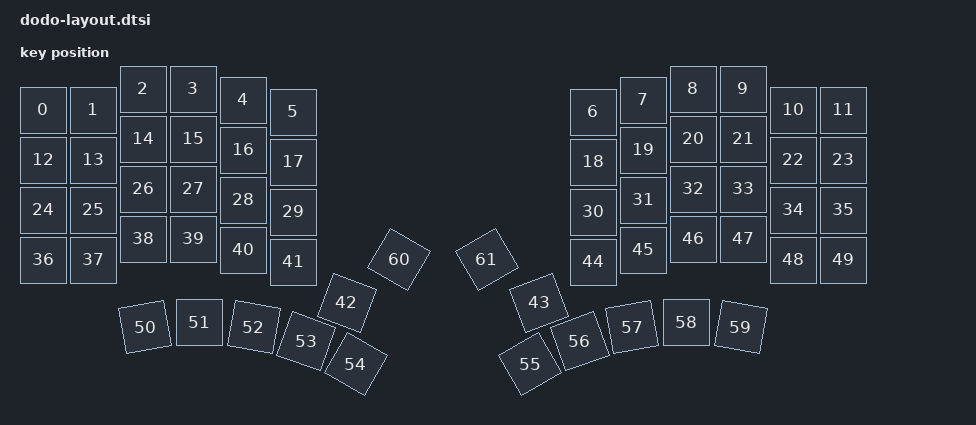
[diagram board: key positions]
#include <physical_layouts.dtsi>

/ {
    physical_layout0: physical_layout_0 {
        compatible = "zmk,physical-layout";
        display-name = "default_layout";

        keys  //                     w   h    x    y     rot    rx    ry
            = <&key_physical_attrs 100 100    0   42       0     0     0>
            , <&key_physical_attrs 100 100  100   42       0     0     0>
            , <&key_physical_attrs 100 100  200    0       0     0     0>
            , <&key_physical_attrs 100 100  300    0       0     0     0>
            , <&key_physical_attrs 100 100  400   22       0     0     0>
            , <&key_physical_attrs 100 100  500   46       0     0     0>
            , <&key_physical_attrs 100 100 1100   46       0     0     0>
            , <&key_physical_attrs 100 100 1200   22       0     0     0>
            , <&key_physical_attrs 100 100 1300    0       0     0     0>
            , <&key_physical_attrs 100 100 1400    0       0     0     0>
            , <&key_physical_attrs 100 100 1500   42       0     0     0>
            , <&key_physical_attrs 100 100 1600   42       0     0     0>
            , <&key_physical_attrs 100 100    0  142       0     0     0>
            , <&key_physical_attrs 100 100  100  142       0     0     0>
            , <&key_physical_attrs 100 100  200  100       0     0     0>
            , <&key_physical_attrs 100 100  300  100       0     0     0>
            , <&key_physical_attrs 100 100  400  122       0     0     0>
            , <&key_physical_attrs 100 100  500  146       0     0     0>
            , <&key_physical_attrs 100 100 1100  146       0     0     0>
            , <&key_physical_attrs 100 100 1200  122       0     0     0>
            , <&key_physical_attrs 100 100 1300  100       0     0     0>
            , <&key_physical_attrs 100 100 1400  100       0     0     0>
            , <&key_physical_attrs 100 100 1500  142       0     0     0>
            , <&key_physical_attrs 100 100 1600  142       0     0     0>
            , <&key_physical_attrs 100 100    0  242       0     0     0>
            , <&key_physical_attrs 100 100  100  242       0     0     0>
            , <&key_physical_attrs 100 100  200  200       0     0     0>
            , <&key_physical_attrs 100 100  300  200       0     0     0>
            , <&key_physical_attrs 100 100  400  222       0     0     0>
            , <&key_physical_attrs 100 100  500  246       0     0     0>
            , <&key_physical_attrs 100 100 1100  246       0     0     0>
            , <&key_physical_attrs 100 100 1200  222       0     0     0>
            , <&key_physical_attrs 100 100 1300  200       0     0     0>
            , <&key_physical_attrs 100 100 1400  200       0     0     0>
            , <&key_physical_attrs 100 100 1500  242       0     0     0>
            , <&key_physical_attrs 100 100 1600  242       0     0     0>
            , <&key_physical_attrs 100 100    0  342       0     0     0>
            , <&key_physical_attrs 100 100  100  342       0     0     0>
            , <&key_physical_attrs 100 100  200  300       0     0     0>
            , <&key_physical_attrs 100 100  300  300       0     0     0>
            , <&key_physical_attrs 100 100  400  322       0     0     0>
            , <&key_physical_attrs 100 100  500  346       0     0     0>
            , <&key_physical_attrs 100 100  363  367    2000   363  1142>
            , <&key_physical_attrs 100 100 1237  367 (-2000)  1337  1142>
            , <&key_physical_attrs 100 100 1100  346       0     0     0>
            , <&key_physical_attrs 100 100 1200  322       0     0     0>
            , <&key_physical_attrs 100 100 1300  300       0     0     0>
            , <&key_physical_attrs 100 100 1400  300       0     0     0>
            , <&key_physical_attrs 100 100 1500  342       0     0     0>
            , <&key_physical_attrs 100 100 1600  342       0     0     0>
            , <&key_physical_attrs 100 100  313  467 (-1000)   363  1142>
            , <&key_physical_attrs 100 100  313  467       0     0     0>
            , <&key_physical_attrs 100 100  313  467    1000   363  1142>
            , <&key_physical_attrs 100 100  313  467    2000   363  1142>
            , <&key_physical_attrs 100 100  313  467    3000   363  1142>
            , <&key_physical_attrs 100 100 1287  467 (-3000)  1337  1142>
            , <&key_physical_attrs 100 100 1287  467 (-2000)  1337  1142>
            , <&key_physical_attrs 100 100 1287  467 (-1000)  1337  1142>
            , <&key_physical_attrs 100 100 1287  467       0     0     0>
            , <&key_physical_attrs 100 100 1287  467    1000  1337  1142>
            , <&key_physical_attrs 100 100  283  242    3000   363  1142>
            , <&key_physical_attrs 100 100 1317  242 (-3000)  1337  1142>
            ;
    };
};
